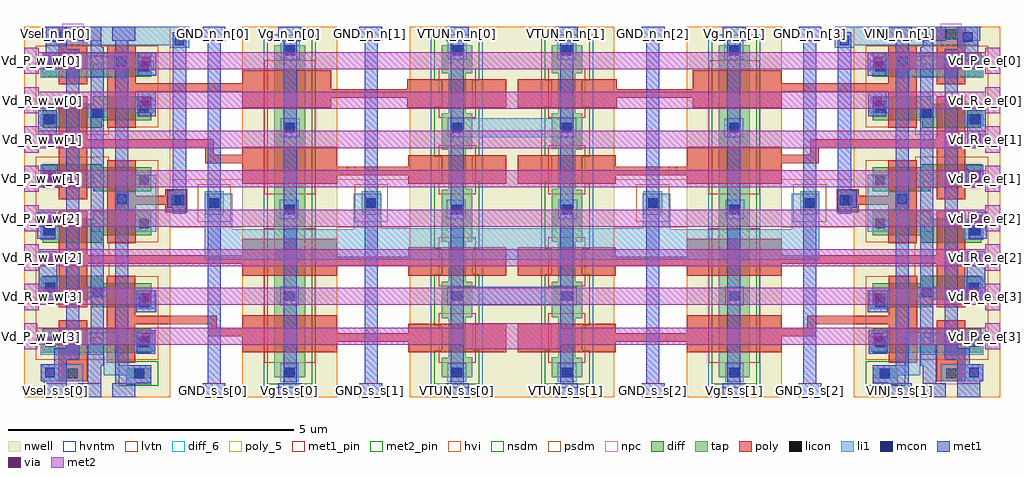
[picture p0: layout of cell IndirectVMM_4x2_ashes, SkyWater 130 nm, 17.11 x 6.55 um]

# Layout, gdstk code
from math import pi, radians
import gdstk
lib = gdstk.Library(unit=1e-6, precision=1e-09)
def R(c, l, rs):  # rectangles x0, y0, x1, y1
    for r in rs: c.add(gdstk.rectangle(r[:2], r[2:], *l))
def A(c, l, x, y, w, h, nx, ny, dx, dy):  # array of equal rectangles
    R(c, l, [(x+i*dx, y+j*dy, x+i*dx+w, y+j*dy+h) for i in range(nx) for j in range(ny)])
nwell = (64, 20)
diff_6 = (65, 6)
diff = (65, 20)
tap = (65, 44)
poly_5 = (66, 5)
poly = (66, 20)
licon = (66, 44)
li1 = (67, 20)
mcon = (67, 44)
met1_pin = (68, 16)
met1 = (68, 20)
via = (68, 44)
met2_pin = (69, 16)
met2 = (69, 20)
hvi = (75, 20)
nsdm = (93, 44)
psdm = (94, 20)
npc = (95, 20)
hvntm = (125, 20)
lvtn = (125, 44)

indirectvmm_4x1 = lib.new_cell('IndirectVMM_4x1')
R(indirectvmm_4x1, nwell, [(5.45,1.55,8.01,8.05), (9.28,1.55,10.94,8.05), (12.21,1.55,13.87,8.05)])
R(indirectvmm_4x1, diff_6, [(6.66,2.45,6.8,2.6), (6.64,4.45,6.78,4.6), (6.66,5.32,6.8,5.47), (6.66,7.25,6.8,7.4)])
R(indirectvmm_4x1, diff, [(5.78,2.33,7.68,2.75), (6.65,3.13,7.68,3.26), (5.78,3.26,7.68,3.55), (5.78,3.55,6.82,3.68), (5.78,4.26,6.82,4.39), (5.78,4.39,7.68,4.68), (6.66,4.68,7.68,4.81), (6.66,5.16,7.68,5.22), (5.78,5.22,7.68,5.58), (5.78,5.58,6.81,5.64), (5.78,6.28,6.81,6.41), (5.78,6.41,7.68,6.7), (6.66,6.7,7.68,6.83), (5.78,7.17,7.68,7.59)])
R(indirectvmm_4x1, tap, [(7.24,1.88,7.68,2.06), (9.84,1.9,10.38,7.72), (12.77,1.9,13.31,2.24), (12.9,2.24,13.31,2.25), (12.9,2.25,13.19,2.94), (12.77,2.94,13.19,2.95), (12.77,2.95,13.31,3.58), (12.9,3.58,13.19,4.28), (12.77,4.28,13.31,5.19), (8.62,4.75,8.95,5.16), (11.37,4.75,11.7,5.16), (12.9,5.19,13.31,5.21), (12.9,5.21,13.19,5.89), (12.77,5.89,13.19,5.91), (12.77,5.91,13.31,6.53), (12.9,6.53,13.19,7.23), (12.77,7.23,13.31,7.72)])
R(indirectvmm_4x1, poly_5, [(11.15,2.52,11.29,2.67), (11.22,3.86,11.36,4.01), (11.12,5.44,11.26,5.59), (11.09,6.8,11.23,6.95)])
R(indirectvmm_4x1, poly, [(6.06,1.83,6.56,2.9), (6.9,2.16,7.4,2.83), (9.28,2.34,10.94,2.52), (12.19,2.34,13.9,2.52), (9.28,2.52,13.9,2.62), (8.67,2.62,13.9,2.67), (8.67,2.67,10.94,2.77), (12.19,2.67,13.9,2.84), (8.67,2.77,8.83,2.83), (9.28,2.77,10.94,2.99), (6.9,2.83,8.83,2.98), (6.9,2.98,7.4,3.68), (6.06,3.13,6.56,3.89), (9.28,3.68,10.94,3.86), (12.19,3.68,13.9,3.86), (9.28,3.86,13.9,3.89), (6.06,3.89,13.9,4.01), (6.06,4.01,10.94,4.04), (12.19,4.01,13.9,4.18), (6.06,4.04,6.56,4.81), (9.28,4.04,10.94,4.33), (6.91,4.25,7.41,4.93), (7.93,4.79,8.31,4.93), (6.91,4.93,8.31,5.08), (6.06,5.02,6.56,5.92), (6.91,5.08,7.41,5.71), (7.93,5.08,8.31,5.2), (9.28,5.29,10.94,5.44), (12.19,5.29,13.9,5.44), (9.28,5.44,13.9,5.59), (9.28,5.59,10.94,5.65), (12.19,5.59,13.9,5.79), (8.63,5.65,10.94,5.8), (8.63,5.8,8.78,5.92), (9.28,5.8,10.94,5.94), (6.06,5.92,8.78,6.07), (6.06,6.07,6.56,6.83), (6.91,6.28,7.41,6.91), (9.28,6.63,10.84,6.8), (12.17,6.63,13.9,6.8), (9.28,6.8,13.9,6.91), (6.91,6.91,13.9,6.95), (6.91,6.95,10.84,7.06), (12.17,6.95,13.9,7.13), (6.06,7.04,6.56,8.05), (6.91,7.06,7.41,7.72), (9.28,7.06,10.84,7.28)])
R(indirectvmm_4x1, licon, [(6.22,1.88,6.39,2.05), (7.385,1.88,7.555,2.05), (10.02,1.9,10.19,2.07), (12.95,1.9,13.12,2.07), (7.465,2.43,7.635,2.6), (5.825,2.44,5.995,2.61), (7.465,3.2,7.635,3.37), (10.02,3.24,10.19,3.41), (12.95,3.24,13.12,3.41), (6.645,3.3,6.815,3.47), (5.825,3.39,5.995,3.56), (5.825,4.39,5.995,4.56), (7.47,4.51,7.64,4.68), (10.01,4.76,10.18,4.93), (12.94,4.76,13.11,4.93), (8.7,4.87,8.87,5.04), (11.45,4.87,11.62,5.04), (8.04,4.92,8.21,5.09), (7.47,5.28,7.64,5.45), (5.825,5.36,5.995,5.53), (10.03,6.19,10.2,6.36), (12.96,6.19,13.13,6.36), (5.825,6.34,5.995,6.51), (6.645,6.45,6.815,6.62), (7.47,6.53,7.64,6.7), (7.47,7.27,7.64,7.44), (5.825,7.33,5.995,7.5), (10.03,7.55,10.2,7.72), (12.96,7.55,13.13,7.72), (6.22,7.83,6.39,8)])
R(indirectvmm_4x1, li1, [(7.24,1.77,7.68,1.94), (9.94,1.82,10.27,2.15), (12.87,1.82,13.2,2.15), (5.74,1.83,6.47,2.13), (6.85,1.94,7.68,2.11), (6.85,2.11,7.1,2.3), (5.74,2.3,7.1,2.68), (7.38,2.35,7.72,2.68), (6.85,2.68,7.1,2.69), (7.38,3.1,7.73,3.13), (7.38,3.13,7.74,3.43), (9.94,3.16,10.27,3.49), (12.87,3.16,13.2,3.49), (6.56,3.3,6.9,3.49), (5.74,3.31,6.08,3.66), (8.62,3.96,11.72,4.35), (5.74,4.31,6.08,4.64), (8.62,4.35,11.71,4.5), (7.39,4.45,7.77,4.84), (8.62,4.5,9.1,5.12), (11.23,4.5,11.71,5.12), (9.93,4.68,10.26,5.01), (12.86,4.68,13.19,5.01), (7.96,4.8,8.29,5.18), (7.05,4.84,7.77,5.15), (7.39,5.15,7.77,5.45), (5.74,5.28,6.08,5.53), (9.95,6.11,10.28,6.44), (12.88,6.11,13.21,6.44), (5.74,6.3,6.08,6.51), (6.56,6.45,6.91,6.62), (7.39,6.53,7.72,6.57), (7.39,6.57,7.76,6.74), (7.39,6.74,7.72,6.79), (5.74,7.15,7.24,7.54), (7.41,7.19,7.68,7.28), (7.41,7.28,7.73,7.45), (7.41,7.45,7.68,7.52), (9.95,7.47,10.28,7.8), (12.88,7.47,13.21,7.8), (8.01,7.68,8.35,7.72), (5.84,7.72,8.35,8.05)])
R(indirectvmm_4x1, mcon, [(7.385,1.88,7.555,2.05), (5.82,1.9,5.99,2.07), (10.03,1.9,10.2,2.07), (12.96,1.9,13.13,2.07), (7.465,2.44,7.635,2.61), (7.465,3.13,7.635,3.3), (10.03,3.24,10.2,3.41), (12.96,3.24,13.13,3.41), (6.65,3.3,6.82,3.47), (5.825,3.39,5.995,3.56), (5.8,4.39,5.97,4.56), (10.03,4.76,10.2,4.93), (12.96,4.76,13.13,4.93), (8.7,4.87,8.87,5.04), (11.45,4.87,11.62,5.04), (8.09,4.92,8.26,5.09), (7.08,4.94,7.25,5.11), (5.81,5.35,5.98,5.52), (10.03,6.19,10.2,6.36), (12.96,6.19,13.13,6.36), (5.795,6.34,5.965,6.51), (6.65,6.45,6.82,6.62), (7.47,6.58,7.64,6.75), (7.47,7.27,7.64,7.44), (7.07,7.35,7.24,7.52), (10.03,7.55,10.2,7.72), (12.96,7.55,13.13,7.72), (8.09,7.72,8.26,7.89), (5.93,7.78,6.1,7.95)])
A(indirectvmm_4x1, met1_pin, 5.8, 1.55, 0.4, 0.25, 3, 2, 0.6, 6.25)
R(indirectvmm_4x1, met1_pin, [(8.58,1.55,8.98,1.8), (9.91,1.55,10.31,1.8), (11.33,1.55,11.73,1.8), (12.85,1.55,13.25,1.8), (8.58,7.8,8.98,8.05), (9.91,7.8,10.31,8.05), (11.33,7.8,11.73,8.05), (12.85,7.8,13.25,8.05)])
A(indirectvmm_4x1, met1, 5.8, 7.8, 0.4, 0.25, 3, 1, 0.6, 0)
R(indirectvmm_4x1, met1, [(5.8,1.55,6.2,1.83), (6.4,1.55,6.8,1.8), (7,1.55,7.4,1.8), (8.58,1.55,8.98,1.8), (9.91,1.55,10.31,1.8), (11.33,1.55,11.73,1.8), (12.85,1.55,13.25,1.8), (6.57,1.8,6.8,2.1), (7.05,1.8,7.68,2.11), (8.67,1.8,8.9,7.8), (10,1.8,10.23,7.8), (11.42,1.8,11.65,7.8), (12.93,1.8,13.16,7.8), (5.74,1.83,6.2,2.13), (6.57,2.1,6.85,2.48), (7.05,2.11,7.28,7.29), (5.98,2.13,6.2,2.21), (5.98,2.21,6.42,2.41), (7.43,2.31,7.75,2.73), (6.19,2.41,6.42,7.45), (6.62,2.48,6.85,7.69), (7.42,3.04,7.77,3.43), (5.71,3.26,6.03,4.11), (5.68,4.33,6,4.8), (8.06,4.77,8.29,4.87), (7.96,4.87,8.29,5.18), (8.06,5.18,8.29,7.95), (5.74,5.24,6.04,5.63), (5.7,5.95,6.02,6.58), (7.44,6.48,7.76,6.91), (7.44,7.19,7.77,7.59), (7.03,7.29,7.28,7.56), (5.83,7.45,6.42,7.65), (7.05,7.56,7.28,7.8), (5.83,7.65,6.2,7.8), (6.62,7.69,6.8,7.8), (8.58,7.8,8.98,8.05), (9.91,7.8,10.31,8.05), (11.33,7.8,11.73,8.05), (12.85,7.8,13.25,8.05)])
R(indirectvmm_4x1, via, [(7.515,2.525,7.665,2.675), (7.535,3.225,7.685,3.375), (5.795,3.905,5.945,4.055), (5.765,4.595,5.915,4.745), (5.805,5.325,5.955,5.475), (5.785,6.015,5.935,6.165), (7.525,6.665,7.675,6.815), (7.515,7.355,7.665,7.505)])
A(indirectvmm_4x1, met2_pin, 5.45, 3.08, 0.26, 0.46, 1, 7, 0, 0.69)
R(indirectvmm_4x1, met2_pin, [(5.45,2.39,5.68,2.85)])
A(indirectvmm_4x1, met2, 5.45, 3.85, 8.42, 0.3, 1, 6, 0, 0.69)
R(indirectvmm_4x1, met2, [(5.45,2.39,5.68,2.47), (13.14,2.39,13.87,2.47), (5.45,2.47,13.87,2.77), (5.45,2.77,5.68,2.85), (13.13,2.77,13.87,2.85), (5.45,3.08,5.71,3.17), (5.45,3.17,13.87,3.47), (5.45,3.47,5.71,3.54), (5.45,3.77,5.71,3.85), (5.45,4.15,5.71,4.23), (5.45,4.46,5.71,4.54), (5.45,4.84,5.71,4.92), (5.45,5.15,5.71,5.23), (5.45,5.53,5.71,5.61), (5.45,5.84,5.71,5.92), (5.45,6.22,5.71,6.3), (5.45,6.53,5.71,6.61), (5.45,6.91,5.71,6.99), (5.45,7.22,5.71,7.3), (5.45,7.6,5.71,7.68)])
R(indirectvmm_4x1, hvi, [(5.45,1.55,8.01,4.535), (9.28,1.55,10.94,4.535), (12.21,1.55,13.87,4.535), (5.45,4.535,13.87,5.375), (5.45,5.375,8.01,8.05), (9.28,5.375,10.94,8.05), (12.21,5.375,13.87,8.05)])
R(indirectvmm_4x1, nsdm, [(7.115,1.755,7.805,2.185), (9.715,1.775,10.505,7.845), (12.645,1.775,13.435,2.365), (12.775,2.365,13.435,2.375), (12.775,2.375,13.315,2.815), (12.645,2.815,13.315,2.825), (12.645,2.825,13.435,3.705), (12.775,3.705,13.315,4.155), (12.645,4.155,13.435,5.315), (12.775,5.315,13.435,5.335), (12.775,5.335,13.315,5.765), (12.645,5.765,13.315,5.785), (12.645,5.785,13.435,6.655), (12.775,6.655,13.315,7.105), (12.645,7.105,13.435,7.845)])
R(indirectvmm_4x1, psdm, [(5.655,2.205,7.805,3.675), (5.655,3.675,6.945,4.265), (5.655,4.265,7.805,5.705), (8.495,4.625,9.075,5.285), (11.245,4.625,11.825,5.285), (5.655,5.705,6.935,5.765), (5.655,6.155,6.935,6.285), (5.655,6.285,7.805,7.715)])
R(indirectvmm_4x1, npc, [(6.12,1.78,6.49,2.15), (7.94,4.82,8.31,5.19), (6.12,7.73,6.49,8.1)])
R(indirectvmm_4x1, hvntm, [(9.655,1.715,10.565,7.905), (12.585,1.715,13.495,7.905)])
R(indirectvmm_4x1, lvtn, [(9.66,2.16,10.56,4.51), (12.72,2.16,13.37,3.02), (12.72,3.5,13.37,4.36), (9.66,5.11,10.56,7.46), (12.72,5.11,13.37,5.97), (12.72,6.45,13.37,7.31)])
indirectvmm_4x1.add(gdstk.Label('FG[0]', (11.16,6.875), layer=66, texttype=5))
indirectvmm_4x1.add(gdstk.Label('FG[1]', (11.19,5.515), layer=66, texttype=5))
indirectvmm_4x1.add(gdstk.Label('FG[2]', (11.29,3.935), layer=66, texttype=5))
indirectvmm_4x1.add(gdstk.Label('FG[3]', (11.22,2.595), layer=66, texttype=5))
indirectvmm_4x1.add(gdstk.Label('Vmid[0]', (6.73,7.325), layer=65, texttype=6))
indirectvmm_4x1.add(gdstk.Label('Vmid[1]', (6.73,5.395), layer=65, texttype=6))
indirectvmm_4x1.add(gdstk.Label('Vmid[2]', (6.71,4.525), layer=65, texttype=6))
indirectvmm_4x1.add(gdstk.Label('Vmid[3]', (6.73,2.525), layer=65, texttype=6))
indirectvmm_4x1.add(gdstk.Label('Vd_P[3]', (5.565,2.62), layer=69, texttype=5))
indirectvmm_4x1.add(gdstk.Label('Vd_R[3]', (5.58,3.31), layer=69, texttype=5))
indirectvmm_4x1.add(gdstk.Label('Vd_R[2]', (5.58,4), layer=69, texttype=5))
indirectvmm_4x1.add(gdstk.Label('Vd_P[2]', (5.58,4.69), layer=69, texttype=5))
indirectvmm_4x1.add(gdstk.Label('Vd_P[1]', (5.58,5.38), layer=69, texttype=5))
indirectvmm_4x1.add(gdstk.Label('Vd_R[1]', (5.58,6.07), layer=69, texttype=5))
indirectvmm_4x1.add(gdstk.Label('Vd_R[0]', (5.58,6.76), layer=69, texttype=5))
indirectvmm_4x1.add(gdstk.Label('Vd_P[0]', (5.58,7.45), layer=69, texttype=5))
indirectvmm_4x1.add(gdstk.Label('Vs', (6.6,1.675), layer=68, texttype=5))
indirectvmm_4x1.add(gdstk.Label('Vs', (6.6,7.925), layer=68, texttype=5))
indirectvmm_4x1.add(gdstk.Label('GND', (11.53,1.675), layer=68, texttype=5))
indirectvmm_4x1.add(gdstk.Label('GND', (8.78,1.675), layer=68, texttype=5))
indirectvmm_4x1.add(gdstk.Label('GND', (8.78,7.925), layer=68, texttype=5))
indirectvmm_4x1.add(gdstk.Label('GND', (11.53,7.925), layer=68, texttype=5))
indirectvmm_4x1.add(gdstk.Label('Vg', (10.11,1.675), layer=68, texttype=5))
indirectvmm_4x1.add(gdstk.Label('Vg', (10.11,7.925), layer=68, texttype=5))
indirectvmm_4x1.add(gdstk.Label('VTUN', (13.05,1.675), layer=68, texttype=5))
indirectvmm_4x1.add(gdstk.Label('VTUN', (13.05,7.925), layer=68, texttype=5))
indirectvmm_4x1.add(gdstk.Label('VINJ', (7.2,1.675), layer=68, texttype=5))
indirectvmm_4x1.add(gdstk.Label('VINJ', (7.2,7.925), layer=68, texttype=5))
indirectvmm_4x1.add(gdstk.Label('Vsel', (6,1.675), layer=68, texttype=5))
indirectvmm_4x1.add(gdstk.Label('Vsel', (6,7.925), layer=68, texttype=5))

indirectvmm_4x2_ashes = lib.new_cell('IndirectVMM_4x2_ashes')
R(indirectvmm_4x2_ashes, nwell, [(13.55,1.44,13.82,7.6), (21.98,2.28,22.24,2.74), (13.55,7.6,13.84,7.94)])
R(indirectvmm_4x2_ashes, li1, [(12.88,3.05,14.49,3.38), (11.39,3.85,15.98,4.15), (11.37,4.15,16.01,4.4), (12.89,6,14.48,6.33)])
A(indirectvmm_4x2_ashes, met1_pin, 5.48, 1.44, 0.4, 0.25, 3, 2, 0.6, 6.25)
A(indirectvmm_4x2_ashes, met1_pin, 20.29, 1.44, 0.4, 0.25, 3, 2, 0.6, 6.25)
R(indirectvmm_4x2_ashes, met1_pin, [(8.26,1.44,8.66,1.69), (9.59,1.44,9.99,1.69), (11.01,1.44,11.41,1.69), (12.53,1.44,12.93,1.69), (14.44,1.44,14.84,1.69), (15.96,1.44,16.36,1.69), (17.38,1.44,17.78,1.69), (18.71,1.44,19.11,1.69), (8.26,7.69,8.66,7.94), (9.59,7.69,9.99,7.94), (11.01,7.69,11.41,7.94), (12.53,7.69,12.93,7.94), (14.44,7.69,14.84,7.94), (15.96,7.69,16.36,7.94), (17.38,7.69,17.78,7.94), (18.71,7.69,19.11,7.94)])
A(indirectvmm_4x2_ashes, met1, 5.48, 1.44, 0.4, 0.25, 3, 2, 0.6, 6.25)
A(indirectvmm_4x2_ashes, met1, 20.29, 1.44, 0.4, 0.25, 3, 2, 0.6, 6.25)
R(indirectvmm_4x2_ashes, met1, [(8.26,1.44,8.66,1.69), (9.59,1.44,9.99,1.69), (11.01,1.44,11.41,1.69), (12.53,1.44,12.93,1.69), (14.44,1.44,14.84,1.69), (15.96,1.44,16.36,1.69), (17.38,1.44,17.78,1.69), (18.71,1.44,19.11,1.69), (8.26,7.69,8.66,7.94), (9.59,7.69,9.99,7.94), (11.01,7.69,11.41,7.94), (12.53,7.69,12.93,7.94), (14.44,7.69,14.84,7.94), (15.96,7.69,16.36,7.94), (17.38,7.69,17.78,7.94), (18.71,7.69,19.11,7.94)])
A(indirectvmm_4x2_ashes, met2_pin, 21.98, 2.28, 0.26, 0.46, 1, 8, 0, 0.69)
A(indirectvmm_4x2_ashes, met2_pin, 5.13, 2.97, 0.26, 0.46, 1, 7, 0, 0.69)
R(indirectvmm_4x2_ashes, met2_pin, [(5.13,2.28,5.36,2.74)])
A(indirectvmm_4x2_ashes, met2, 21.98, 2.28, 0.26, 0.46, 1, 8, 0, 0.69)
A(indirectvmm_4x2_ashes, met2, 5.13, 2.97, 0.26, 0.46, 1, 7, 0, 0.69)
A(indirectvmm_4x2_ashes, met2, 13.55, 3.74, 0.27, 0.3, 1, 6, 0, 0.69)
R(indirectvmm_4x2_ashes, met2, [(5.13,2.28,5.36,2.74), (13.55,2.28,13.83,2.74), (13.55,3.06,13.82,3.36)])
R(indirectvmm_4x2_ashes, hvi, [(13.55,1.44,13.82,7.94)])
indirectvmm_4x2_ashes.add(gdstk.Reference(indirectvmm_4x1, (-0.32,-0.11)))
indirectvmm_4x2_ashes.add(gdstk.Reference(indirectvmm_4x1, (27.69,-0.11), rotation=pi, x_reflection=True))
indirectvmm_4x2_ashes.add(gdstk.Label('Vd_P_e_e[3]', (22.11,2.51), layer=69, texttype=5))
indirectvmm_4x2_ashes.add(gdstk.Label('Vd_R_e_e[3]', (22.11,3.2), layer=69, texttype=5))
indirectvmm_4x2_ashes.add(gdstk.Label('Vd_R_e_e[2]', (22.11,3.89), layer=69, texttype=5))
indirectvmm_4x2_ashes.add(gdstk.Label('Vd_P_e_e[2]', (22.11,4.58), layer=69, texttype=5))
indirectvmm_4x2_ashes.add(gdstk.Label('Vd_P_e_e[1]', (22.11,5.27), layer=69, texttype=5))
indirectvmm_4x2_ashes.add(gdstk.Label('Vd_R_e_e[1]', (22.11,5.96), layer=69, texttype=5))
indirectvmm_4x2_ashes.add(gdstk.Label('Vd_R_e_e[0]', (22.11,6.65), layer=69, texttype=5))
indirectvmm_4x2_ashes.add(gdstk.Label('Vd_P_e_e[0]', (22.11,7.34), layer=69, texttype=5))
indirectvmm_4x2_ashes.add(gdstk.Label('Vd_P_w_w[3]', (5.245,2.51), layer=69, texttype=5))
indirectvmm_4x2_ashes.add(gdstk.Label('Vd_R_w_w[3]', (5.26,3.2), layer=69, texttype=5))
indirectvmm_4x2_ashes.add(gdstk.Label('Vd_R_w_w[2]', (5.26,3.89), layer=69, texttype=5))
indirectvmm_4x2_ashes.add(gdstk.Label('Vd_P_w_w[2]', (5.26,4.58), layer=69, texttype=5))
indirectvmm_4x2_ashes.add(gdstk.Label('Vd_P_w_w[1]', (5.26,5.27), layer=69, texttype=5))
indirectvmm_4x2_ashes.add(gdstk.Label('Vd_R_w_w[1]', (5.26,5.96), layer=69, texttype=5))
indirectvmm_4x2_ashes.add(gdstk.Label('Vd_R_w_w[0]', (5.26,6.65), layer=69, texttype=5))
indirectvmm_4x2_ashes.add(gdstk.Label('Vd_P_w_w[0]', (5.26,7.34), layer=69, texttype=5))
indirectvmm_4x2_ashes.add(gdstk.Label('Vsel_n_n[0]', (5.68,7.815), layer=68, texttype=5))
indirectvmm_4x2_ashes.add(gdstk.Label('Vs_n_n[0]', (6.28,7.815), layer=68, texttype=5))
indirectvmm_4x2_ashes.add(gdstk.Label('VINJ_n_n[0]', (6.88,7.815), layer=68, texttype=5))
indirectvmm_4x2_ashes.add(gdstk.Label('GND_n_n[0]', (8.46,7.815), layer=68, texttype=5))
indirectvmm_4x2_ashes.add(gdstk.Label('GND_n_n[1]', (11.21,7.815), layer=68, texttype=5))
indirectvmm_4x2_ashes.add(gdstk.Label('GND_n_n[2]', (16.16,7.815), layer=68, texttype=5))
indirectvmm_4x2_ashes.add(gdstk.Label('GND_n_n[3]', (18.91,7.815), layer=68, texttype=5))
indirectvmm_4x2_ashes.add(gdstk.Label('Vg_n_n[0]', (9.79,7.815), layer=68, texttype=5))
indirectvmm_4x2_ashes.add(gdstk.Label('VTUN_n_n[0]', (12.73,7.815), layer=68, texttype=5))
indirectvmm_4x2_ashes.add(gdstk.Label('VTUN_n_n[1]', (14.64,7.815), layer=68, texttype=5))
indirectvmm_4x2_ashes.add(gdstk.Label('Vg_n_n[1]', (17.58,7.815), layer=68, texttype=5))
indirectvmm_4x2_ashes.add(gdstk.Label('VINJ_n_n[1]', (20.49,7.815), layer=68, texttype=5))
indirectvmm_4x2_ashes.add(gdstk.Label('Vs_n_n[1]', (21.09,7.815), layer=68, texttype=5))
indirectvmm_4x2_ashes.add(gdstk.Label('Vsel_n_n[1]', (21.69,7.815), layer=68, texttype=5))
indirectvmm_4x2_ashes.add(gdstk.Label('Vsel_s_s[0]', (5.68,1.565), layer=68, texttype=5))
indirectvmm_4x2_ashes.add(gdstk.Label('Vs_s_s[0]', (6.28,1.565), layer=68, texttype=5))
indirectvmm_4x2_ashes.add(gdstk.Label('VINJ_s_s[0]', (6.88,1.565), layer=68, texttype=5))
indirectvmm_4x2_ashes.add(gdstk.Label('GND_s_s[0]', (8.46,1.565), layer=68, texttype=5))
indirectvmm_4x2_ashes.add(gdstk.Label('GND_s_s[1]', (11.21,1.565), layer=68, texttype=5))
indirectvmm_4x2_ashes.add(gdstk.Label('GND_s_s[2]', (16.16,1.565), layer=68, texttype=5))
indirectvmm_4x2_ashes.add(gdstk.Label('GND_s_s[2]', (18.91,1.565), layer=68, texttype=5))
indirectvmm_4x2_ashes.add(gdstk.Label('Vg_s_s[0]', (9.79,1.565), layer=68, texttype=5))
indirectvmm_4x2_ashes.add(gdstk.Label('Vg_s_s[1]', (17.58,1.565), layer=68, texttype=5))
indirectvmm_4x2_ashes.add(gdstk.Label('VINJ_s_s[1]', (20.49,1.565), layer=68, texttype=5))
indirectvmm_4x2_ashes.add(gdstk.Label('Vs_s_s[1]', (21.09,1.565), layer=68, texttype=5))
indirectvmm_4x2_ashes.add(gdstk.Label('Vsel_s_s[1]', (21.69,1.565), layer=68, texttype=5))
indirectvmm_4x2_ashes.add(gdstk.Label('VTUN_s_s[0]', (12.73,1.565), layer=68, texttype=5))
indirectvmm_4x2_ashes.add(gdstk.Label('VTUN_s_s[1]', (14.64,1.565), layer=68, texttype=5))

lib.write_gds('IndirectVMM_4x2_ashes.gds')
